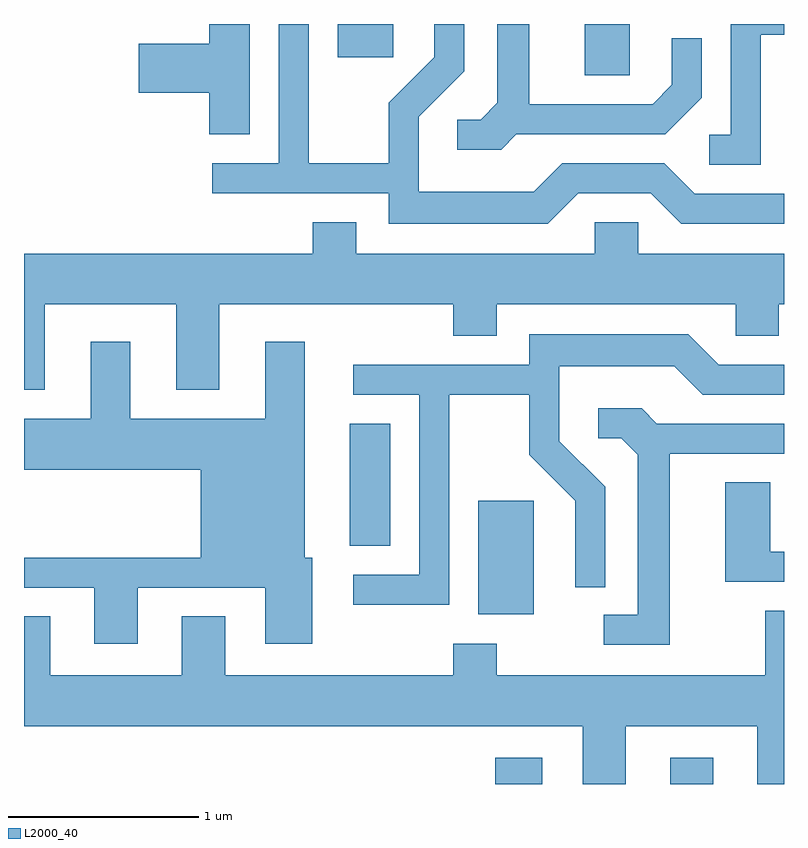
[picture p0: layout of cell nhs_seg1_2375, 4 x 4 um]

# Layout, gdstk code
import gdstk
lib = gdstk.Library(unit=1e-6, precision=1e-09)
def R(c, l, rs):  # rectangles x0, y0, x1, y1
    for r in rs: c.add(gdstk.rectangle(r[:2], r[2:], *l))
def P(c, l, *ps):  # polygons
    for p in ps: c.add(gdstk.Polygon(p, *l))
L2000_40 = (2000, 40)

nhs_seg1_2375 = lib.new_cell('nhs_seg1_2375')
R(nhs_seg1_2375, L2000_40, [(260.091,903.712,260.339,903.849), (261.011,903.712,261.239,903.849), (260.001,904.606,260.294,905.204), (259.326,904.966,259.539,905.609), (260.561,907.441,260.799,907.712), (259.261,907.536,259.554,907.712)])
P(nhs_seg1_2375, L2000_40, [(260.202,907.131),(260.986,907.131),(261.179,907.324),(261.179,907.638),(261.021,907.638),(261.021,907.392),(260.919,907.289),(260.269,907.289),(260.269,907.712),(260.101,907.712),(260.101,907.297),(260.014,907.209),(259.892,907.209),(259.892,907.051),(260.122,907.051)],
  [(261.489,907.656),(261.611,907.656),(261.611,907.712),(261.331,907.712),(261.331,907.129),(261.218,907.129),(261.218,906.971),(261.489,906.971)],
  [(260.527,906.821),(260.909,906.821),(261.069,906.661),(261.611,906.661),(261.611,906.819),(261.142,906.819),(260.981,906.979),(260.444,906.979),(260.294,906.829),(259.689,906.829),(259.689,907.224),(259.929,907.464),(259.929,907.712),(259.771,907.712),(259.771,907.537),(259.531,907.297),(259.531,906.979),(259.109,906.979),(259.109,907.712),(258.951,907.712),(258.951,906.979),(258.603,906.979),(258.603,906.821),(259.531,906.821),(259.531,906.661),(260.367,906.661)],
  [(258.799,907.712),(258.586,907.712),(258.586,907.609),(258.216,907.609),(258.216,907.351),(258.586,907.351),(258.586,907.131),(258.799,907.131)],
  [(257.719,906.236),(258.411,906.236),(258.411,905.786),(258.639,905.786),(258.639,906.236),(259.871,906.236),(259.871,906.071),(260.099,906.071),(260.099,906.236),(261.356,906.236),(261.356,906.071),(261.584,906.071),(261.584,906.236),(261.611,906.236),(261.611,906.504),(260.844,906.504),(260.844,906.669),(260.616,906.669),(260.616,906.504),(259.359,906.504),(259.359,906.669),(259.131,906.669),(259.131,906.504),(257.611,906.504),(257.611,905.786),(257.719,905.786)],
  [(259.849,905.761),(260.271,905.761),(260.271,905.444),(260.511,905.204),(260.511,904.748),(260.669,904.748),(260.669,905.277),(260.429,905.517),(260.429,905.911),(261.034,905.911),(261.183,905.761),(261.611,905.761),(261.611,905.919),(261.267,905.919),(261.106,906.079),(260.271,906.079),(260.271,905.919),(259.343,905.919),(259.343,905.761),(259.691,905.761),(259.691,904.814),(259.343,904.814),(259.343,904.656),(259.849,904.656)],
  [(258.209,904.746),(258.881,904.746),(258.881,904.451),(259.129,904.451),(259.129,904.904),(259.089,904.904),(259.089,906.039),(258.881,906.039),(258.881,905.634),(258.169,905.634),(258.169,906.039),(257.961,906.039),(257.961,905.634),(257.611,905.634),(257.611,905.366),(258.541,905.366),(258.541,904.904),(257.611,904.904),(257.611,904.746),(257.981,904.746),(257.981,904.451),(258.209,904.451)],
  [(261.009,905.451),(261.611,905.451),(261.611,905.609),(260.942,905.609),(260.861,905.689),(260.633,905.689),(260.633,905.531),(260.754,905.531),(260.841,905.444),(260.841,904.604),(260.663,904.604),(260.663,904.446),(261.009,904.446)],
  [(261.611,904.934),(261.539,904.934),(261.539,905.299),(261.301,905.299),(261.301,904.776),(261.611,904.776)],
  [(260.779,904.016),(261.471,904.016),(261.471,903.712),(261.611,903.712),(261.611,904.624),(261.511,904.624),(261.511,904.284),(260.099,904.284),(260.099,904.449),(259.871,904.449),(259.871,904.284),(258.669,904.284),(258.669,904.594),(258.441,904.594),(258.441,904.284),(257.749,904.284),(257.749,904.594),(257.611,904.594),(257.611,904.016),(260.551,904.016),(260.551,903.712),(260.779,903.712)])

lib.write_gds('nhs_seg1_2375.gds')
